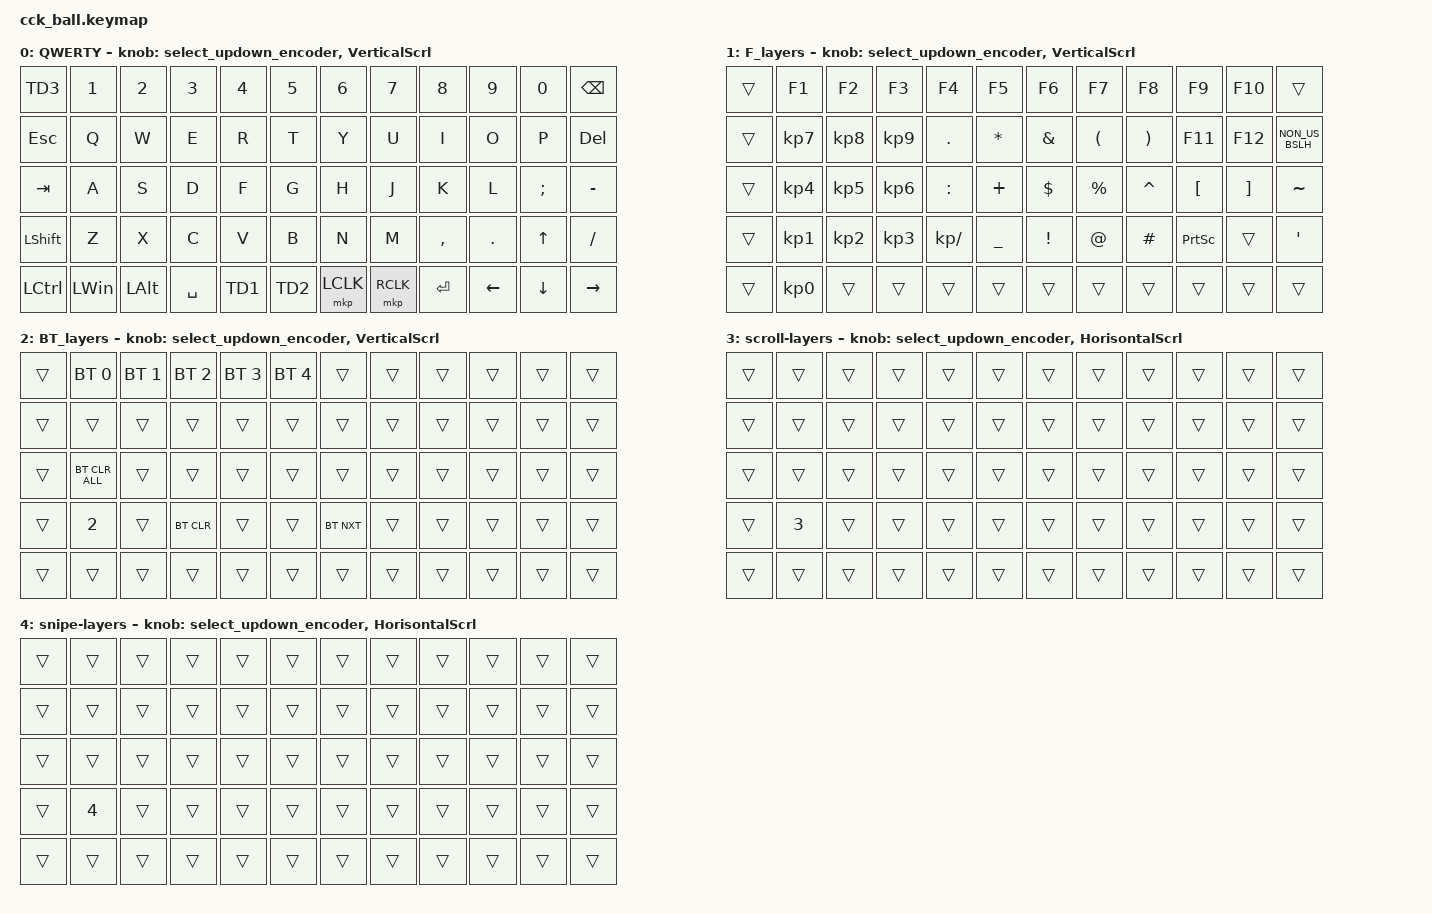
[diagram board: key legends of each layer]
#define ZMK_POINTING_DEFAULT_MOVE_VAL 1000 // 600
#define ZMK_POINTING_DEFAULT_SCRL_VAL 12   // 10

#include <input/processors.dtsi>
#include <zephyr/dt-bindings/input/input-event-codes.h>
#include <behaviors.dtsi>
#include <dt-bindings/zmk/bt.h>
#include <dt-bindings/zmk/keys.h>
#include <dt-bindings/zmk/pointing.h>

&mmv_input_listener { input-processors = <&zip_xy_scaler 2 1>; };

&msc_input_listener { input-processors = <&zip_scroll_scaler 2 1>; };

&msc {
    acceleration-exponent = <0>;      // 0
    time-to-max-speed-ms = <300>;       // 300
    delay-ms = <0>;                   // 0
};

&mmv {
    time-to-max-speed-ms = <500>;
    acceleration-exponent = <1>;
    trigger-period-ms = <12>;
};

&soft_off { hold-time-ms = <2000>; };

/ {
    // 上下滚动编码器行为
    // 左右滚动编码器行为
    // セレクト上下（↑/↓）用エンコーダ

    select_updown_encoder: select_updown_encoder {
        compatible = "zmk,behavior-sensor-rotate";
        #sensor-binding-cells = <0>;
        bindings = <&kp DOWN_ARROW>, <&kp UP_ARROW>;

        tap-ms = <80>;
    };

    TD1: TD1 {
        compatible = "zmk,behavior-tap-dance";
        label = "TD1";
        #binding-cells = <0>;
        bindings = <&to 0>, <&to 1>, <&to 2>;
    };

    TD2: TD2 {
        compatible = "zmk,behavior-tap-dance";
        label = "TD2";
        #binding-cells = <0>;
        bindings = <&to 0>, <&to 3>, <&to 4>;
    };

    TD3: TD3 {
        compatible = "zmk,behavior-tap-dance";
        label = "TD3";
        #binding-cells = <0>;
        bindings = <&kp LANG1>, <&kp LANGUAGE_2>;
    };

    VerticalScrl: VerticalScrl {
        compatible = "zmk,behavior-sensor-rotate";
        label = "VERTICALSCRL";
        #sensor-binding-cells = <0>;
        bindings = <&msc MOVE_Y(5)>, <&msc MOVE_Y(-5)>;

        tap-ms = <80>;
    };

    HorisontalScrl: HorisontalScrl {
        compatible = "zmk,behavior-sensor-rotate";
        label = "HORISONTALSCRL";
        #sensor-binding-cells = <0>;
        bindings = <&msc MOVE_X(5)>, <&msc MOVE_X(-5)>;

        tap-ms = <80>;
    };

    behaviors {
    };

    keymap {
        compatible = "zmk,keymap";

        QWERTY {
            bindings = <
&TD3              &kp N1        &kp N2        &kp N3     &kp N4  &kp N5  &kp N6     &kp N7     &kp N8     &kp N9          &kp N0          &kp BACKSPACE
&kp ESC           &kp Q         &kp W         &kp E      &kp R   &kp T   &kp Y      &kp U      &kp I      &kp O           &kp P           &kp DELETE
&kp TAB           &kp A         &kp S         &kp D      &kp F   &kp G   &kp H      &kp J      &kp K      &kp L           &kp SEMI        &kp MINUS
&kp LEFT_SHIFT    &kp Z         &kp X         &kp C      &kp V   &kp B   &kp N      &kp M      &kp COMMA  &kp DOT         &kp UP_ARROW    &kp FSLH
&kp LEFT_CONTROL  &kp LEFT_WIN  &kp LEFT_ALT  &kp SPACE  &TD1    &TD2    &mkp LCLK  &mkp RCLK  &kp ENTER  &kp LEFT_ARROW  &kp DOWN_ARROW  &kp RIGHT_ARROW
            >;

            sensor-bindings = <&select_updown_encoder>, <&VerticalScrl>;
        };

        F_layers {
            bindings = <
&trans  &kp F1           &kp F2           &kp F3           &kp F4         &kp F5     &kp F6           &kp F7       &kp F8                 &kp F9            &kp F10            &trans
&trans  &kp KP_NUMBER_7  &kp KP_NUMBER_8  &kp KP_NUMBER_9  &kp DOT        &kp ASTRK  &kp AMPERSAND    &kp LPAR     &kp RIGHT_PARENTHESIS  &kp F11           &kp F12            &kp NON_US_BSLH
&trans  &kp KP_NUMBER_4  &kp KP_NUMBER_5  &kp KP_NUMBER_6  &kp COLON      &kp PLUS   &kp DOLLAR       &kp PERCENT  &kp CARET              &kp LEFT_BRACKET  &kp RIGHT_BRACKET  &kp TILDE
&trans  &kp KP_NUMBER_1  &kp KP_NUMBER_2  &kp KP_NUMBER_3  &kp KP_DIVIDE  &kp UNDER  &kp EXCLAMATION  &kp AT_SIGN  &kp HASH               &kp PRINTSCREEN   &trans             &kp SINGLE_QUOTE
&trans  &kp KP_N0        &trans           &trans           &trans         &trans     &trans           &trans       &trans                 &trans            &trans             &trans
            >;

            sensor-bindings = <&select_updown_encoder>, <&VerticalScrl>;
        };

        BT_layers {
            bindings = <
&trans  &bt BT_SEL 0    &bt BT_SEL 1  &bt BT_SEL 2  &bt BT_SEL 3  &bt BT_SEL 4  &trans      &trans  &trans  &trans  &trans  &trans
&trans  &trans          &trans        &trans        &trans        &trans        &trans      &trans  &trans  &trans  &trans  &trans
&trans  &bt BT_CLR_ALL  &trans        &trans        &trans        &trans        &trans      &trans  &trans  &trans  &trans  &trans
&trans  &kp NUMBER_2    &trans        &bt BT_CLR    &trans        &trans        &bt BT_NXT  &trans  &trans  &trans  &trans  &trans
&trans  &trans          &trans        &trans        &trans        &trans        &trans      &trans  &trans  &trans  &trans  &trans
            >;

            sensor-bindings = <&select_updown_encoder>, <&VerticalScrl>;
        };

        scroll-layers {
            bindings = <
&trans  &trans        &trans  &trans  &trans  &trans  &trans  &trans  &trans  &trans  &trans  &trans
&trans  &trans        &trans  &trans  &trans  &trans  &trans  &trans  &trans  &trans  &trans  &trans
&trans  &trans        &trans  &trans  &trans  &trans  &trans  &trans  &trans  &trans  &trans  &trans
&trans  &kp NUMBER_3  &trans  &trans  &trans  &trans  &trans  &trans  &trans  &trans  &trans  &trans
&trans  &trans        &trans  &trans  &trans  &trans  &trans  &trans  &trans  &trans  &trans  &trans
            >;

            sensor-bindings = <&select_updown_encoder>, <&HorisontalScrl>;
        };

        snipe-layers {
            bindings = <
&trans  &trans        &trans  &trans  &trans  &trans  &trans  &trans  &trans  &trans  &trans  &trans
&trans  &trans        &trans  &trans  &trans  &trans  &trans  &trans  &trans  &trans  &trans  &trans
&trans  &trans        &trans  &trans  &trans  &trans  &trans  &trans  &trans  &trans  &trans  &trans
&trans  &kp NUMBER_4  &trans  &trans  &trans  &trans  &trans  &trans  &trans  &trans  &trans  &trans
&trans  &trans        &trans  &trans  &trans  &trans  &trans  &trans  &trans  &trans  &trans  &trans
            >;

            sensor-bindings = <&select_updown_encoder>, <&HorisontalScrl>;
        };
    };
};
